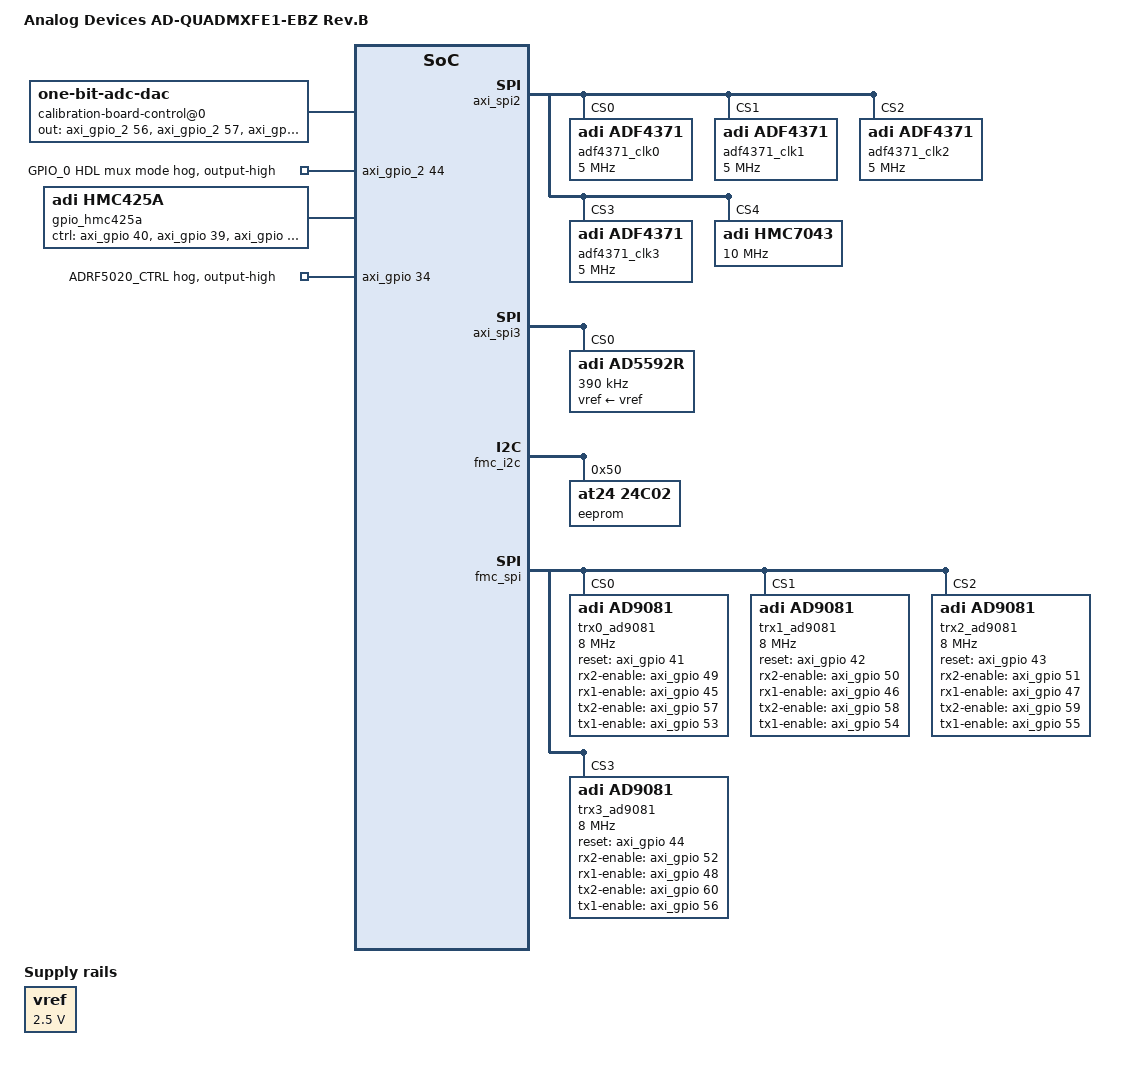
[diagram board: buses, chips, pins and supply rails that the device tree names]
// SPDX-License-Identifier: GPL-2.0
/*
 * Analog Devices Quad-MxFE
 * https://wiki.analog.com/resources/eval/user-guides/quadmxfe
 * https://wiki.analog.com/resources/tools-software/linux-drivers/iio-mxfe/ad9081
 * https://wiki.analog.com/resources/eval/user-guides/ad_quadmxfe1_ebz/ad_quadmxfe1_ebz_hdl
 *
 * Copyright (C) 2019-2020 Analog Devices Inc.
 */
/dts-v1/;

#include "vcu118.dtsi"
#include <dt-bindings/iio/adi,ad5592r.h>
#include <dt-bindings/iio/adc/adi,ad9081.h>
#include <dt-bindings/iio/frequency/hmc7044.h>
#include <dt-bindings/gpio/gpio.h>
#include <dt-bindings/jesd204/adxcvr.h>

#define fmc_i2c fmcp_hspc_iic
#define fmc_spi axi_spi

/ {
	model = "Analog Devices AD-QUADMXFE1-EBZ Rev.B";
};

&axi_intc {
	xlnx,kind-of-intr = <0x4f0>;
};

&axi_ethernet {
	local-mac-address = [00 0a 35 AD 90 81];
};

&amba_pl {
		axi_spi2: axi_quad_spi@44a80000 {
			#address-cells = <1>;
			#size-cells = <0>;
			bits-per-word = <8>;
			compatible = "xlnx,xps-spi-2.00.a";
			fifo-size = <16>;
			interrupt-parent = <&axi_intc>;
			interrupts = <7 0>;
			num-cs = <0x8>;
			reg = <0x44a80000 0x10000>;
			xlnx,num-ss-bits = <0x8>;
			xlnx,spi-mode = <0>;
		};

		axi_spi3: axi_quad_spi@44B80000 {
			#address-cells = <1>;
			#size-cells = <0>;
			bits-per-word = <8>;
			compatible = "xlnx,xps-spi-2.00.a";
			fifo-size = <16>;
			interrupt-parent = <&axi_intc>;
			interrupts = <6 0>;
			num-cs = <0x8>;
			reg = <0x44B80000 0x10000>;
			xlnx,num-ss-bits = <0x8>;
			xlnx,spi-mode = <0>;
		};

		rx_dma: dma@7c420000 {
			compatible = "adi,axi-dmac-1.00.a";
			reg = <0x7c420000 0x10000>;
			#dma-cells = <1>;
			#clock-cells = <0>;
			interrupt-parent = <&axi_intc>;
			interrupts = <12 4>;

			clocks = <&clk_bus_0>;

			adi,channels {
				#size-cells = <0>;
				#address-cells = <1>;

				dma-channel@0 {
					reg = <0>;
					adi,source-bus-width = <256>;
					adi,source-bus-type = <2>;
					adi,destination-bus-width = <256>;
					adi,destination-bus-type = <0>;
				};
			};
		};

		tx_dma: dma@7c430000  {
			compatible = "adi,axi-dmac-1.00.a";
			reg = <0x7c430000 0x10000>;
			#dma-cells = <1>;
			#clock-cells = <0>;
			interrupt-parent = <&axi_intc>;
			interrupts = <13 4>;
			clocks = <&clk_bus_0>;

			adi,channels {
				#size-cells = <0>;
				#address-cells = <1>;

				dma-channel@0 {
					reg = <0>;
					adi,source-bus-width = <256>;
					adi,source-bus-type = <0>;
					adi,destination-bus-width = <256>;
					adi,destination-bus-type = <2>;
				};
			};
		};

		axi_ad9081_core_rx: axi-ad9081-rx-3@44a10000 {
			compatible = "adi,axi-ad9081-rx-1.0";
			reg = <0x44a10000 0x8000>;
			dmas = <&rx_dma 0>;
			dma-names = "rx";
			spibus-connected = <&trx3_ad9081>;

			jesd204-device;
			#jesd204-cells = <2>;
			jesd204-inputs = <&axi_ad9081_rx_jesd 0 FRAMER_LINK0_RX>;
		};

		axi_ad9081_core_tx: axi-ad9081-tx-3@44b10000 {
			compatible = "adi,axi-ad9081-tx-1.0";
			reg = <0x44b10000 0x8000>;
			dmas = <&tx_dma 0>;
			dma-names = "tx";
			clocks = <&trx3_ad9081 1>;
			clock-names = "sampl_clk";
			spibus-connected = <&trx3_ad9081>;

			plddrbypass-gpios = <&axi_gpio 61 0>;
			adi,axi-pl-fifo-enable;

			jesd204-device;
			#jesd204-cells = <2>;
			jesd204-inputs = <&axi_ad9081_tx_jesd 0 DEFRAMER_LINK0_TX>;
		};

		axi_ad9081_rx_jesd: axi-jesd204-rx@44a90000 {
			compatible = "adi,axi-jesd204-rx-1.0";
			reg = <0x44a90000 0x4000>;
			interrupt-parent = <&axi_intc>;
			interrupts = <14 4>;

			clocks = <&clk_bus_0>, <&hmc7043 8>, <&axi_ad9081_adxcvr_rx 0>;
			clock-names = "s_axi_aclk", "device_clk", "lane_clk";

			#clock-cells = <0>;
			clock-output-names = "jesd_rx_lane_clk";

			jesd204-device;
			#jesd204-cells = <2>;
			jesd204-inputs = <&axi_ad9081_adxcvr_rx 0 FRAMER_LINK0_RX>;
		};

		axi_ad9081_tx_jesd: axi-jesd204-tx@44b90000 {
			compatible = "adi,axi-jesd204-tx-1.0";
			reg = <0x44b90000 0x4000>;

			interrupt-parent = <&axi_intc>;
			interrupts = <15 4>;

			clocks = <&clk_bus_0>, <&hmc7043 8>, <&axi_ad9081_adxcvr_tx 0>;
			clock-names = "s_axi_aclk", "device_clk", "lane_clk";

			#clock-cells = <0>;
			clock-output-names = "jesd_tx_lane_clk";

			jesd204-device;
			#jesd204-cells = <2>;
			jesd204-inputs = <&axi_ad9081_adxcvr_tx 0 DEFRAMER_LINK0_TX>;
		};

		axi_ad9081_adxcvr_rx: axi-adxcvr-rx@44a60000 {
			#address-cells = <1>;
			#size-cells = <0>;
			compatible = "adi,axi-adxcvr-1.0";
			reg = <0x44a60000 0x1000>;

			clocks = <&hmc7043 0>; /* div40 is controlled by axi_ad9081_rx_jesd */
			clock-names = "conv";

			#clock-cells = <1>;
			clock-output-names = "rx_gt_clk", "rx_out_clk";

			adi,sys-clk-select = <XCVR_CPLL>;
			adi,out-clk-select = <XCVR_REFCLK>;
			adi,use-lpm-enable;

				jesd204-device;
			#jesd204-cells = <2>;
			jesd204-inputs =  <&hmc7043 0 FRAMER_LINK0_RX>;
		};

		axi_ad9081_adxcvr_tx: axi-adxcvr-tx@44b60000 {
			#address-cells = <1>;
			#size-cells = <0>;
			compatible = "adi,axi-adxcvr-1.0";
			reg = <0x44b60000 0x1000>;

			clocks = <&hmc7043 0>; /* div40 is controlled by axi_ad9081_tx_jesd */
			clock-names = "conv";
			#clock-cells = <1>;
			clock-output-names = "tx_gt_clk", "tx_out_clk";

			adi,sys-clk-select = <XCVR_QPLL>;
			adi,out-clk-select = <XCVR_REFCLK_DIV2>;

			jesd204-device;
			#jesd204-cells = <2>;
			jesd204-inputs =  <&hmc7043 0 DEFRAMER_LINK0_TX>;
		};

		axi_sysid_0: axi-sysid-0@45000000 {
			compatible = "adi,axi-sysid-1.00.a";
			reg = <0x45000000 0x10000>;
		};

		axi_gpio_2: gpio@7c440000 {
			#gpio-cells = <2>;
			#interrupt-cells = <2>;
			clock-frequency = <100000000>;
			clock-names = "s_axi_aclk";
			clocks = <&clk_bus_0>;
			compatible = "xlnx,axi-gpio-2.0", "xlnx,xps-gpio-1.00.a";
			gpio-controller;
			interrupt-controller;
			interrupt-names = "ip2intc_irpt";
			interrupt-parent = <&axi_intc>;
			interrupts = <8 2>;
			reg = <0x7c440000 0x1000>;
			xlnx,all-inputs = <0x0>;
			xlnx,all-inputs-2 = <0x0>;
			xlnx,all-outputs = <0x0>;
			xlnx,all-outputs-2 = <0x0>;
			xlnx,dout-default = <0x00000000>;
			xlnx,dout-default-2 = <0x00000000>;
			xlnx,gpio-width = <0x20>;
			xlnx,gpio2-width = <0x20>;
			xlnx,interrupt-present = <0x1>;
			xlnx,is-dual = <0x1>;
			xlnx,tri-default = <0xFFFFFFFF>;
			xlnx,tri-default-2 = <0xFFFFFFFF>;
		};

		gpio_hmc425a: hmc425a {
			compatible = "adi,hmc425a";
			ctrl-gpios = <&axi_gpio 40 GPIO_ACTIVE_HIGH>,
				<&axi_gpio 39 GPIO_ACTIVE_HIGH>,
				<&axi_gpio 38 GPIO_ACTIVE_HIGH>,
				<&axi_gpio 37 GPIO_ACTIVE_HIGH>,
				<&axi_gpio 36 GPIO_ACTIVE_HIGH>,
				<&axi_gpio 35 GPIO_ACTIVE_HIGH>;

		};

};

&axi_ad9081_core_tx {
	plddrbypass-gpios = <&axi_gpio 61 0>;
};

&axi_gpio {
	adrf5020_ctrl {
		gpio-hog;
		gpios = <34 GPIO_ACTIVE_HIGH>;
		output-high; /* output-low for the RF2 <-> clk-rfaux8 output */
		line-name = "ADRF5020_CTRL";
	};
};

&axi_gpio_2 {
	ad9081_gpio0_mux {
		gpio-hog;
		gpios = <44 GPIO_ACTIVE_HIGH>;
		output-high; /* output-high gpio_mode - connect GPIO_0 of MxFE3 (output) to GPIO_0 of MxFE0,1,2 (input) */
		line-name = "GPIO_0 HDL mux mode";
	};
};

/ {
	vref: regulator-vref {
		compatible = "regulator-fixed";
		regulator-name = "vref-ad5592";
		regulator-min-microvolt = <2500000>;
		regulator-max-microvolt = <2500000>;
		regulator-always-on;
	};

	calibration-board-control@0 {
		compatible = "one-bit-adc-dac";
		out-gpios = <&axi_gpio_2 56 0>, <&axi_gpio_2 57 0>, <&axi_gpio_2 58 0>, <&axi_gpio_2 59 0>;

		#address-cells = <1>;
		#size-cells = <0>;

		channel@0 {
			reg = <0>;
			label = "5045_V1";
		};

		channel@1 {
			reg = <1>;
			label = "5045_V2";
		};

		channel@2 {
			reg = <2>;
			label = "CTRL_IND";
		};

		channel@3 {
			reg = <3>;
			label = "CTRL_RX_COMBINED";
		};
	};

	clocks {
		clkin_j41: clock@0 {
			#clock-cells = <0>;
			compatible = "fixed-clock";
			clock-frequency = <500000000>;
			clock-output-names = "refclk_j41";
		};
	};
};

&fmc_i2c {
	eeprom@50 {
		compatible = "at24,24c02";
		reg = <0x50>;
	};
};

&axi_spi2 {
	adf4371_clk0: adf4371-0@0 {
		compatible = "adi,adf4371";
		reg = <0>;

		#address-cells = <1>;
		#clock-cells = <1>;
		#size-cells = <0>;

		spi-max-frequency = <5000000>;
		adi,spi-3wire-enable;
		adi,muxout-select = <1>;
		clocks = <&clkin_j41>;
		clock-names = "clkin";
		clock-output-names = "pll0-clk-rf8", "pll0-clk-rfaux8",
			"pll0-clk-rf16", "pll0-clk-rf32";

	};

	adf4371_clk1: adf4371-1@1 {
		compatible = "adi,adf4371";
		reg = <1>;

		#address-cells = <1>;
		#clock-cells = <1>;
		#size-cells = <0>;

		spi-max-frequency = <5000000>;
		adi,spi-3wire-enable;
		adi,muxout-select = <1>;
		clocks = <&clkin_j41>;
		clock-names = "clkin";
		clock-output-names = "pll1-clk-rf8", "pll1-clk-rfaux8",
			"pll1-clk-rf16", "pll1-clk-rf32";

	};

	adf4371_clk2: adf4371-2@2 {
		compatible = "adi,adf4371";
		reg = <2>;

		#address-cells = <1>;
		#clock-cells = <1>;
		#size-cells = <0>;

		spi-max-frequency = <5000000>;
		adi,spi-3wire-enable;
		adi,muxout-select = <1>;
		clocks = <&clkin_j41>;
		clock-names = "clkin";
		clock-output-names = "pll2-clk-rf8", "pll2-clk-rfaux8",
			"pll2-clk-rf16", "pll2-clk-rf32";

	};

	adf4371_clk3: adf4371-3@3 {
		compatible = "adi,adf4371";
		reg = <3>;

		#address-cells = <1>;
		#clock-cells = <1>;
		#size-cells = <0>;

		spi-max-frequency = <5000000>;
		adi,spi-3wire-enable;
		adi,muxout-select = <1>;
		clocks = <&clkin_j41>;
		clock-names = "clkin";
		clock-output-names = "pll3-clk-rf8", "pll3-clk-rfaux8",
			"pll3-clk-rf16", "pll3-clk-rf32";

	};

	hmc7043: hmc7043@4 {
		#address-cells = <1>;
		#size-cells = <0>;
		#clock-cells = <1>;
		compatible = "adi,hmc7043";
		reg = <4>;
		spi-max-frequency = <10000000>;

		clocks = <&clkin_j41>;
		clock-names = "clkin0";

		jesd204-device;
		#jesd204-cells = <2>;
		jesd204-sysref-provider;

		adi,jesd204-max-sysref-frequency-hz = <2000000>;

		adi,sysref-timer-divider = <1024>;
		adi,pulse-generator-mode = <HMC7044_PULSE_GEN_CONT_PULSE>;

		adi,rf-reseeder-disable;

		adi,clkin0-buffer-mode  = <0x07>; /* RFSYNC */
		adi,clkin1-buffer-mode  = <0x07>; /* CLKIN 500 MHz */

		adi,gpi-controls = <0x00>;
		adi,gpo-controls = <0x37>;

		clock-output-names =
			"hmc7043_out0", "hmc7043_out1", "hmc7043_out2",
			"hmc7043_out3", "hmc7043_out4", "hmc7043_out5",
			"hmc7043_out6", "hmc7043_out7", "hmc7043_out8",
			"hmc7043_out9", "hmc7043_out10", "hmc7043_out11",
			"hmc7043_out12", "hmc7043_out13";

	};
};

&axi_spi3 {
	ad5592r@0 {
		#size-cells = <0>;
		#address-cells = <1>;
		compatible = "adi,ad5592r";
		reg = <0>;

		spi-max-frequency = <390000>; /* 390 kHz */
		spi-cpol;

		vref-supply = <&vref>; /* optional */

		channel@0 {
			reg = <0>;
			adi,mode = <CH_MODE_ADC>;
		};
		channel@1 {
			reg = <1>;
			adi,mode = <CH_MODE_ADC>;
		};
		channel@5 {
			reg = <5>;
			adi,mode = <CH_MODE_ADC>;
		};
		channel@7 {
			reg = <7>;
			adi,mode = <CH_MODE_ADC>;
		};
	};
};

&fmc_spi {

	trx0_ad9081: axi-ad9081-rx-0@0 {
		#address-cells = <1>;
		#size-cells = <0>;
		compatible = "adi,ad9081";
		reg = <0>;
		spi-max-frequency = <8000000>;

		/* Clocks */
		clocks = <&adf4371_clk0 2>;
		clock-names = "dev_clk";

		clock-output-names = "rx_sampl_clk", "tx_sampl_clk";
		#clock-cells = <1>;
		dev_clk-clock-scales = <1 10>;

		adi,jesd-sync-pins-01-swap-enable;
		//adi,lmfc-delay-dac-clk-cycles = <14>;

		jesd204-device;
		#jesd204-cells = <2>;
		jesd204-link-ids = < FRAMER_LINK0_RX DEFRAMER_LINK0_TX>;

		jesd204-inputs =
			<&axi_ad9081_core_rx 0 FRAMER_LINK0_RX>,
			<&axi_ad9081_core_tx 0 DEFRAMER_LINK0_TX>;


	};

	trx1_ad9081: axi-ad9081-rx-1@1 {
		#address-cells = <1>;
		#size-cells = <0>;
		compatible = "adi,ad9081";
		reg = <1>;
		spi-max-frequency = <8000000>;

		/* Clocks */
		clocks = <&adf4371_clk1 2>;
		clock-names = "dev_clk";

		clock-output-names = "rx_sampl_clk", "tx_sampl_clk";
		#clock-cells = <1>;
		dev_clk-clock-scales = <1 10>;

		adi,jesd-sync-pins-01-swap-enable;
		//adi,lmfc-delay-dac-clk-cycles = <16>;

		jesd204-device;
		#jesd204-cells = <2>;
		jesd204-link-ids = < FRAMER_LINK0_RX DEFRAMER_LINK0_TX>;

		jesd204-inputs =
			<&trx0_ad9081 0 FRAMER_LINK0_RX>,
			<&trx0_ad9081 0 DEFRAMER_LINK0_TX>;
	};

	trx2_ad9081: axi-ad9081-rx-2@2 {
		#address-cells = <1>;
		#size-cells = <0>;
		compatible = "adi,ad9081";
		reg = <2>;
		spi-max-frequency = <8000000>;

		/* Clocks */
		clocks = <&adf4371_clk2 2>;
		clock-names = "dev_clk";

		clock-output-names = "rx_sampl_clk", "tx_sampl_clk";
		#clock-cells = <1>;
		dev_clk-clock-scales = <1 10>;

		adi,jesd-sync-pins-01-swap-enable;
		//adi,lmfc-delay-dac-clk-cycles = <9>;

		jesd204-device;
		#jesd204-cells = <2>;
		jesd204-link-ids = < FRAMER_LINK0_RX DEFRAMER_LINK0_TX>;

		jesd204-inputs =
			<&trx1_ad9081 0 FRAMER_LINK0_RX>,
			<&trx1_ad9081 0 DEFRAMER_LINK0_TX>;
	};

	trx3_ad9081: ad9081@3 {
		#address-cells = <1>;
		#size-cells = <0>;
		compatible = "adi,ad9081";
		reg = <3>;
		spi-max-frequency = <8000000>;

		/* Clocks */
		clocks = <&adf4371_clk3 2>;
		clock-names = "dev_clk";

		clock-output-names = "rx_sampl_clk", "tx_sampl_clk";
		#clock-cells = <1>;
		dev_clk-clock-scales = <1 10>;

		adi,multidevice-instance-count = <4>;
		adi,jesd-sync-pins-01-swap-enable;
		//adi,lmfc-delay-dac-clk-cycles = <3>;

		jesd204-device;
		#jesd204-cells = <2>;
		jesd204-top-device = <0>; /* This is the TOP device */
		jesd204-link-ids = < FRAMER_LINK0_RX DEFRAMER_LINK0_TX>;

		jesd204-inputs =
			<&trx2_ad9081 0 FRAMER_LINK0_RX>,
			<&trx2_ad9081 0 DEFRAMER_LINK0_TX>;

	};
};

&trx0_ad9081 {
	reset-gpios = <&axi_gpio 41 0>;
	rx2-enable-gpios = <&axi_gpio 49 0>;
	rx1-enable-gpios = <&axi_gpio 45 0>;
	tx2-enable-gpios = <&axi_gpio 57 0>;
	tx1-enable-gpios = <&axi_gpio 53 0>;
};

&trx1_ad9081 {
	reset-gpios = <&axi_gpio 42 0>;
	rx2-enable-gpios = <&axi_gpio 50 0>;
	rx1-enable-gpios = <&axi_gpio 46 0>;
	tx2-enable-gpios = <&axi_gpio 58 0>;
	tx1-enable-gpios = <&axi_gpio 54 0>;
};

&trx2_ad9081 {
	reset-gpios = <&axi_gpio 43 0>;
	rx2-enable-gpios = <&axi_gpio 51 0>;
	rx1-enable-gpios = <&axi_gpio 47 0>;
	tx2-enable-gpios = <&axi_gpio 59 0>;
	tx1-enable-gpios = <&axi_gpio 55 0>;
};

&trx3_ad9081 {
	reset-gpios = <&axi_gpio 44 0>;
	rx2-enable-gpios = <&axi_gpio 52 0>;
	rx1-enable-gpios = <&axi_gpio 48 0>;
	tx2-enable-gpios = <&axi_gpio 60 0>;
	tx1-enable-gpios = <&axi_gpio 56 0>;
};
